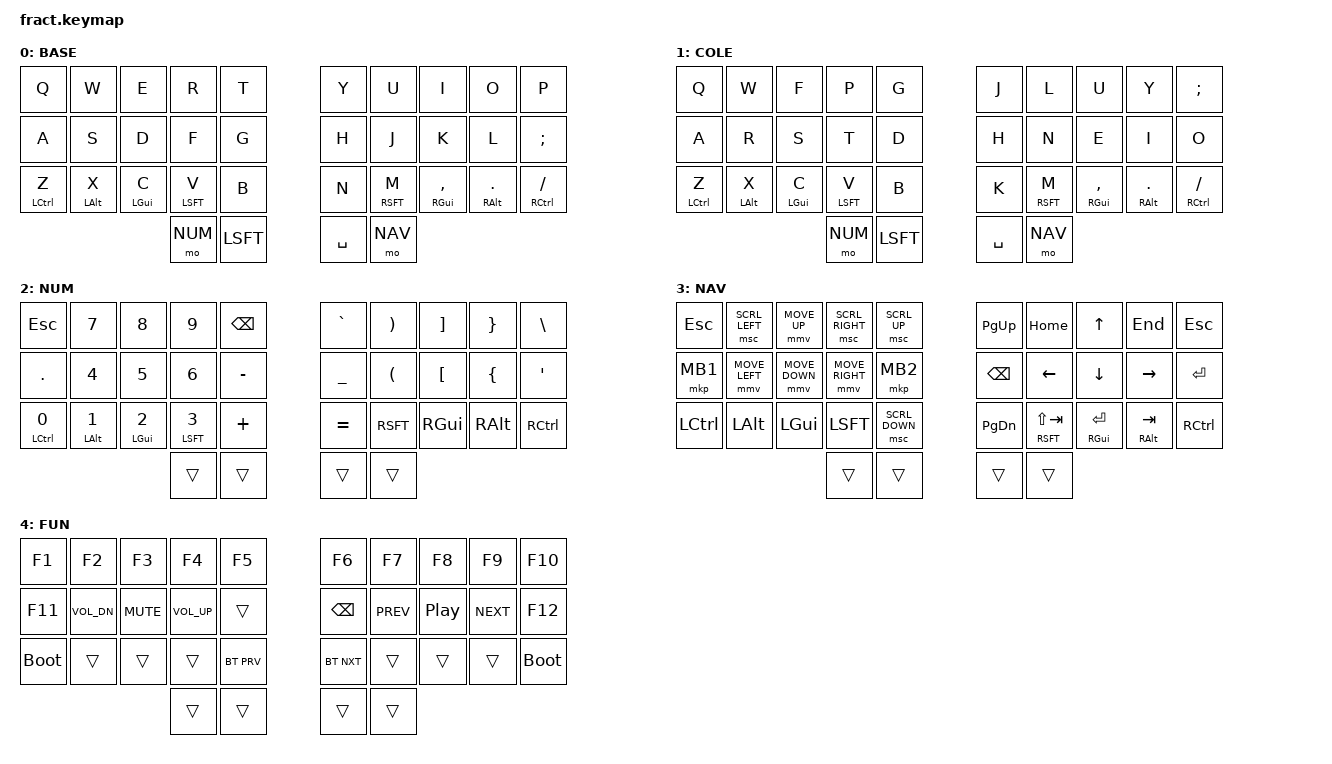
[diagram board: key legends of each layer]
#include <behaviors.dtsi>
#include <dt-bindings/zmk/keys.h>
#include <dt-bindings/zmk/bt.h>
#define ZMK_POINTING_DEFAULT_MOVE_VAL 900  // default: 600
#define ZMK_POINTING_DEFAULT_SCRL_VAL 20    // default: 10
#include <dt-bindings/zmk/pointing.h>

/*  0  1  2  3  4  5  6  7  8  9 */
/* 10 11 12 13 14 15 16 17 18 19 */
/* 20 21 22 23 24 25 26 27 28 29 */
/*          30 31 32 33          */

#define LH_KEYS  0  1  2  3  4 \
                10 11 12 13 14 \
                20 21 22 23 24 \

#define RH_KEYS  5  6  7  8 9 \
                15 16 17 18 19 \
                25 26 27 28 29 \

#define T_KEYS 30 31 32 33

#define BASE 0
#define COLE 1
#define NUM 2
#define NAV 3
#define FUN 4

/ {
    behaviors {
    hml: homerow_mod_left {
      compatible = "zmk,behavior-hold-tap";
      #binding-cells = <2>;
      flavor = "balanced";
      require-prior-idle-ms = <150>;
      tapping-term-ms = <280>;
      quick-tap-ms = <175>;
      bindings = <&kp>, <&kp>;
      hold-trigger-key-positions = <RH_KEYS T_KEYS>;
      hold-trigger-on-release;
    };
    hmr: homerow_mod_right {
      compatible = "zmk,behavior-hold-tap";
      #binding-cells = <2>;
      flavor = "balanced";
      require-prior-idle-ms = <150>;
      tapping-term-ms = <280>;
      quick-tap-ms = <175>;
      bindings = <&kp>, <&kp>;
      hold-trigger-key-positions = <LH_KEYS T_KEYS>;
      hold-trigger-on-release;
    };
  };
  combos {
    compatible = "zmk,combos";
    /* Bluetooth */
    combo_bt_clr {
      timeout-ms = <25>;
      key-positions = <24 25>;
      bindings = <&bt BT_CLR>;
      layers = <FUN>;
    };
    /* QWERTY and COLEMAK */
    combo_to_qwerty {
      timeout-ms = <25>;
      key-positions = <0 1>;
      bindings = <&to BASE>;
      layers = <FUN>;
    };
    combo_to_colemak {
      timeout-ms = <25>;
      key-positions = <8 9>;
      bindings = <&to COLE>;
      layers = <FUN>;
    };
  };

  conditional_layers {
    compatible = "zmk,conditional-layers";

    tri_layer {
      if-layers = <NAV NUM>;
      then-layer = <FUN>;
    };
  };

  keymap {
    compatible = "zmk,keymap";
    default_layer {
      label = "BASE";
      bindings = <
    /* |—————————————————|—————————————————|—————————————————|—————————————————|—————————————————|                                   |—————————————————|—————————————————|—————————————————|—————————————————|—————————————————| */
        &kp Q             &kp W             &kp E             &kp R             &kp T                                                 &kp Y             &kp U             &kp I             &kp O             &kp P
    /* |—————————————————|—————————————————|—————————————————|—————————————————|—————————————————|                                   |—————————————————|—————————————————|—————————————————|—————————————————|—————————————————| */
        &kp A             &kp S             &kp D             &kp F             &kp G                                                 &kp H             &kp J             &kp K             &kp L             &kp SEMI
    /* |—————————————————|—————————————————|—————————————————|—————————————————|—————————————————|                                   |—————————————————|—————————————————|—————————————————|—————————————————|—————————————————| */
        &hml LCTL Z       &hml LALT X       &hml LGUI C       &hml LSFT V       &kp B                                                 &kp N             &hmr RSFT M       &hmr RGUI COMMA   &hmr RALT DOT     &hmr RCTL FSLH
    /* |—————————————————|—————————————————|—————————————————|—————————————————|—————————————————|—————————————————|—————————————————|—————————————————|—————————————————|—————————————————|—————————————————|—————————————————| */
                                                                                &mo NUM           &kp LSFT          &kp SPACE         &mo NAV
    /*                                                                         |—————————————————|—————————————————|—————————————————|—————————————————|                                                                         */
      >;
    };
    colemak_layer {
      label = "COLE";
      bindings = <
    /* |—————————————————|—————————————————|—————————————————|—————————————————|—————————————————|                                   |—————————————————|—————————————————|—————————————————|—————————————————|—————————————————| */
        &kp Q             &kp W             &kp F             &kp P             &kp G                                                 &kp J             &kp L             &kp U             &kp Y             &kp SEMI
    /* |—————————————————|—————————————————|—————————————————|—————————————————|—————————————————|                                   |—————————————————|—————————————————|—————————————————|—————————————————|—————————————————| */
        &kp A             &kp R             &kp S             &kp T             &kp D                                                 &kp H             &kp N             &kp E             &kp I             &kp O
    /* |—————————————————|—————————————————|—————————————————|—————————————————|—————————————————|                                   |—————————————————|—————————————————|—————————————————|—————————————————|—————————————————| */
        &hml LCTL Z       &hml LALT X       &hml LGUI C       &hml LSFT V       &kp B                                                 &kp K             &hmr RSFT M       &hmr RGUI COMMA   &hmr RALT DOT     &hmr RCTL FSLH
    /* |—————————————————|—————————————————|—————————————————|—————————————————|—————————————————|—————————————————|—————————————————|—————————————————|—————————————————|—————————————————|—————————————————|—————————————————| */
                                                                                &mo NUM           &kp LSFT          &kp SPACE         &mo NAV
    /*                                                                         |—————————————————|—————————————————|—————————————————|—————————————————|                                                                         */
      >;
    };
    number_layer {
      label = "NUM";
      bindings = <
    /* |—————————————————|—————————————————|—————————————————|—————————————————|—————————————————|                                   |—————————————————|—————————————————|—————————————————|—————————————————|—————————————————| */
        &kp ESC           &kp N7            &kp N8            &kp N9            &kp BSPC                                              &kp GRAVE         &kp RPAR          &kp RBKT          &kp RBRC          &kp BSLH
    /* |—————————————————|—————————————————|—————————————————|—————————————————|—————————————————|                                   |—————————————————|—————————————————|—————————————————|—————————————————|—————————————————| */
        &kp PERIOD        &kp N4            &kp N5            &kp N6            &kp MINUS                                             &kp UNDER         &kp LPAR          &kp LBKT          &kp LBRC          &kp SQT
    /* |—————————————————|—————————————————|—————————————————|—————————————————|—————————————————|                                   |—————————————————|—————————————————|—————————————————|—————————————————|—————————————————| */
        &hml LCTL N0      &hml LALT N1      &hml LGUI N2      &hml LSFT N3      &kp PLUS                                              &kp EQUAL         &kp RSFT          &kp RGUI          &kp RALT          &kp RCTL
    /* |—————————————————|—————————————————|—————————————————|—————————————————|—————————————————|—————————————————|—————————————————|—————————————————|—————————————————|—————————————————|—————————————————|—————————————————| */
                                                                                &trans            &trans            &trans            &trans
    /*                                                                         |—————————————————|—————————————————|—————————————————|—————————————————|                                                                         */
      >;
    };
    navigation_layer {
      label = "NAV";
      bindings = <
    /* |—————————————————|—————————————————|—————————————————|—————————————————|—————————————————|                                   |—————————————————|—————————————————|—————————————————|—————————————————|—————————————————| */
        &kp ESC           &msc SCRL_LEFT    &mmv MOVE_UP      &msc SCRL_RIGHT   &msc SCRL_UP                                          &kp PG_UP         &kp HOME          &kp UP            &kp END           &kp ESC
    /* |—————————————————|—————————————————|—————————————————|—————————————————|—————————————————|                                   |—————————————————|—————————————————|—————————————————|—————————————————|—————————————————| */
        &mkp MB1          &mmv MOVE_LEFT    &mmv MOVE_DOWN    &mmv MOVE_RIGHT   &mkp MB2                                              &kp BSPC          &kp LEFT          &kp DOWN          &kp RIGHT         &kp RET
    /* |—————————————————|—————————————————|—————————————————|—————————————————|—————————————————|                                   |—————————————————|—————————————————|—————————————————|—————————————————|—————————————————| */
        &kp LCTL          &kp LALT          &kp LGUI          &kp LSFT          &msc SCRL_DOWN                                        &kp PG_DN         &hmr RSFT LS(TAB) &hmr RGUI RET     &hmr RALT TAB     &kp RCTL
    /* |—————————————————|—————————————————|—————————————————|—————————————————|—————————————————|—————————————————|—————————————————|—————————————————|—————————————————|—————————————————|—————————————————|—————————————————| */
                                                                                &trans            &trans            &trans            &trans
    /*                                                                         |—————————————————|—————————————————|—————————————————|—————————————————|                                                                         */
      >;
    };
    function_layer {
      label = "FUN";
      bindings = <
    /* |—————————————————|—————————————————|—————————————————|—————————————————|—————————————————|                                   |—————————————————|—————————————————|—————————————————|—————————————————|—————————————————| */
        &kp F1            &kp F2            &kp F3            &kp F4            &kp F5                                                &kp F6            &kp F7            &kp F8            &kp F9            &kp F10
    /* |—————————————————|—————————————————|—————————————————|—————————————————|—————————————————|                                   |—————————————————|—————————————————|—————————————————|—————————————————|—————————————————| */
        &kp F11           &kp C_VOL_DN      &kp C_MUTE        &kp C_VOL_UP      &trans                                                &kp BSPC          &kp C_PREV        &kp C_PP          &kp C_NEXT        &kp F12
    /* |—————————————————|—————————————————|—————————————————|—————————————————|—————————————————|                                   |—————————————————|—————————————————|—————————————————|—————————————————|—————————————————| */
        &bootloader       &trans            &trans            &trans            &bt BT_PRV                                            &bt BT_NXT        &trans            &trans            &trans            &bootloader
    /* |—————————————————|—————————————————|—————————————————|—————————————————|—————————————————|—————————————————|—————————————————|—————————————————|—————————————————|—————————————————|—————————————————|—————————————————| */
                                                                                &trans            &trans            &trans            &trans
    /*                                                                         |—————————————————|—————————————————|—————————————————|—————————————————|                                                                         */
      >;
    };
  };
};
